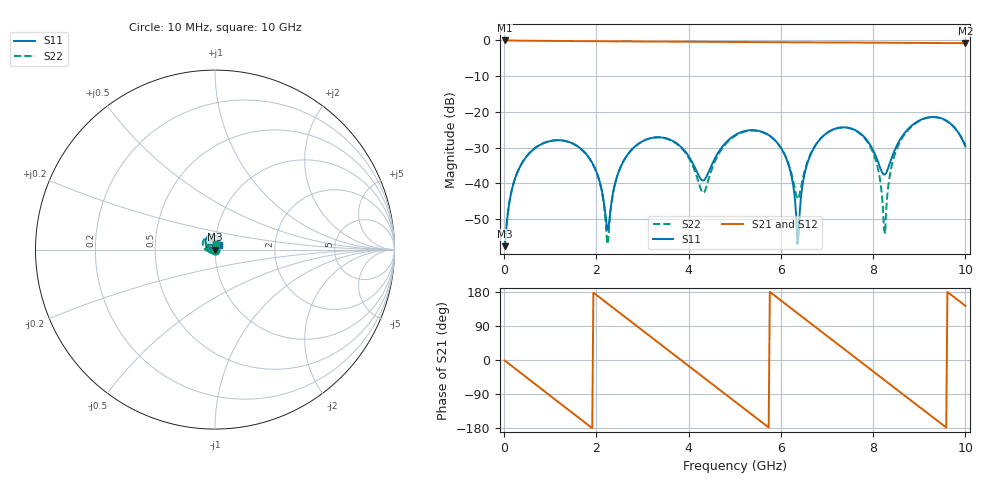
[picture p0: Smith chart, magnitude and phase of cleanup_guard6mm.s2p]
! Layout cleanup equivalence validation - 38 mm 50 ohm stripline
! Case: Cleanup, 6 mm guard - only the +/-8 mm pair removed
! Solver: Ansys HFSS 3D Layout 2026 R1, broadband adaptive 1-5 GHz,
!  Delta S 0.02, interpolating sweep 10 MHz - 10 GHz
# GHz S MA R 50.000000
! Terminal data exported
! Port[1] = U1.PAD1.SIG
! Port[2] = U2.PAD1.SIG
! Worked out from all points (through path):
!   401 points, 10 MHz to 10 GHz, reference 50 ohm
!   highest |S21| = -0.01 dB at 10 MHz (marker M1); lowest = -0.8 dB at 10 GHz (marker M2)
!   group delay of S21, straight-line fit = 260 ps
!   lowest |S11| = -57.6 dB at 10 MHz (marker M3), VSWR 1.00, Z = 50.1 - j0.0231 ohm
!   |S11| at or under -10 dB: start of sweep to end of sweep
!   |S22| runs from -57.6 to -21.5 dB; largest |S21 - S12| = 2.5e-14
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0.01  0.00132 -10.0  0.9986 -1.0  0.9986 -1.0  0.001321 -10.0
0.21  0.0103 -90.1  0.9941 -20.1  0.9941 -20.1  0.01038 -89.2
0.51  0.02481 -129.2  0.9894 -48.4  0.9894 -48.4  0.02496 -127.3
1.085  0.03984 170.8  0.9824 -102.5  0.9824 -102.5  0.03995 174.0
1.685  0.02965 113.4  0.977 -158.8  0.977 -158.8  0.0295 115.1
2.035  0.01261 85.5  0.974 168.4  0.974 168.4  0.01236 77.8
2.235  0.002241 130.6  0.9723 149.6  0.9723 149.6  0.00141 -5.4
2.61  0.02164 -163.7  0.969 114.4  0.969 114.4  0.02169 -147.8
3.36  0.04413 133.0  0.9622 44.2  0.9622 44.2  0.04392 137.2
4.31  0.01095 125.5  0.9558 -44.7  0.9558 -44.7  0.007337 -33.0
5.01  0.04745 139.8  0.9497 -110.3  0.9497 -110.3  0.04622 176.5
5.96  0.03433 61.2  0.9437 160.9  0.9437 160.9  0.03428 89.1
6.21  0.01438 41.9  0.9425 137.5  0.9425 137.5  0.01522 78.6
6.36  0.001416 83.6  0.9415 123.5  0.9415 123.5  0.006027 126.3
6.685  0.02867 172.7  0.9389 93.0  0.9389 93.0  0.0292 178.8
7.56  0.0575 100.6  0.932 11.2  0.932 11.2  0.05683 104.4
8.01  0.02815 76.1  0.9303 -30.9  0.9303 -30.9  0.0258 60.7
8.235  0.01323 115.4  0.9291 -52.0  0.9291 -52.0  0.002269 -0.3
8.335  0.01705 148.8  0.9284 -61.4  0.9284 -61.4  0.009971 -136.7
8.56  0.03849 160.1  0.9263 -82.5  0.9263 -82.5  0.03551 -163.7
9.01  0.07616 132.2  0.9211 -124.6  0.9211 -124.6  0.07536 154.6
10  0.03265 52.5  0.9172 142.9  0.9172 142.9  0.03406 77.2
